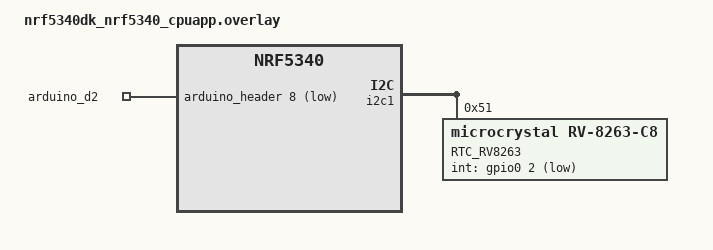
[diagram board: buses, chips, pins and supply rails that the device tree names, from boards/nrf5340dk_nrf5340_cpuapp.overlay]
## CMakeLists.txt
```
# Copyright (c)  2024 LVGL <felipe@lvgl.io>
# SPDX-License-Identifier: Apache-2.0

cmake_minimum_required(VERSION 3.20.0)

set(SHIELD x_nucleo_iks01a3 adafruit_2_8_tft_touch_v2)

find_package(Zephyr REQUIRED HINTS $ENV{ZEPHYR_BASE})
project(SquareLine_Project)

set(LVGL_DIR ${ZEPHYR_LVGL_MODULE_DIR})

# Ajout des dossiers d'include
target_include_directories(app PRIVATE src/rtc src/ui src/chrono src/BLE)

# Ajout des fichiers sources
FILE(GLOB app_sources 
    src/*.c 
    src/ui/*.c 
    src/ui/images/*.c 
    src/ui/fonts/*.c 
    src/ui/screens/*.c 
    src/ui/components/*.c 
    src/sensor/*.c 
    src/rtc/*.c
    src/chrono/*.c
    src/BLE/*.c

)
target_sources(app PRIVATE ${app_sources})
```

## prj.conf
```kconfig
CONFIG_MAIN_STACK_SIZE=8192
CONFIG_LOG=y
CONFIG_SHELL=y

CONFIG_LVGL=y
CONFIG_LV_Z_MEM_POOL_SIZE=32768
CONFIG_LV_Z_SHELL=y
CONFIG_LV_USE_MONKEY=y
CONFIG_LV_COLOR_DEPTH_32=y

CONFIG_DISPLAY=y
CONFIG_INPUT=y

CONFIG_LV_USE_PERF_MONITOR=y

CONFIG_LV_FONT_MONTSERRAT_16=y
CONFIG_LV_FONT_MONTSERRAT_18=y
CONFIG_LV_FONT_MONTSERRAT_20=y
CONFIG_LV_FONT_MONTSERRAT_24=y

# Benchmark Demo
CONFIG_LV_USE_FONT_COMPRESSED=y


#sensor
CONFIG_STDOUT_CONSOLE=y
CONFIG_I2C=y
CONFIG_SENSOR=y
CONFIG_SENSOR_LOG_LEVEL_DBG=y
CONFIG_HTS221_TRIGGER_NONE=y
CONFIG_LPS22HH_TRIGGER_OWN_THREAD=y
CONFIG_STTS751_TRIGGER_NONE=y
CONFIG_LIS2MDL_TRIGGER_NONE=y
CONFIG_LIS2DW12_TRIGGER_OWN_THREAD=y
CONFIG_LSM6DSO_ENABLE_TEMP=n
CONFIG_LSM6DSO_TRIGGER_OWN_THREAD=y
CONFIG_LSM6DSO_TRIGGER_GLOBAL_THREAD=y

CONFIG_CBPRINTF_FP_SUPPORT=y

# DIL24 section
CONFIG_LIS2DE12_ENABLE_TEMP=y
CONFIG_LIS2DE12_TRIGGER_NONE=y

# RTC
CONFIG_RTC=y
CONFIG_RTC_RV8263=y
#CONFIG_RTC_INIT_PRIORITY=90

# touchscreen
CONFIG_INPUT_GPIO_KEYS=n

# BLE
CONFIG_NCS_SAMPLES_DEFAULTS=y

CONFIG_BT=y
CONFIG_BT_PERIPHERAL=y
CONFIG_BT_DEVICE_NAME="MWAMontre"

# Enable the LBS service
CONFIG_BT_LBS=y
CONFIG_BT_LBS_POLL_BUTTON=y
CONFIG_DK_LIBRARY=y

CONFIG_SETTINGS=y

#timer2
CONFIG_NRFX_TIMER2=y
```

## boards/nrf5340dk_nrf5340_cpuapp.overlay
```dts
/*
 * Copyright (c) 2024 STMicroelectronics
 *
 * SPDX-License-Identifier: Apache-2.0
 */

/*
 * Sensors declared here are possibly present on DIL24
 */
/* 
 &arduino_i2c {
	status = "okay";

	lis2de18_18_x_nucleo_iks01a3: lis2de12@18 {
		compatible = "st,lis2de12";
		reg = <0x18>;
		int1-gpios =  <&arduino_header 5 GPIO_ACTIVE_HIGH>;
	};
};*/


&i2c1 {
    status = "okay";

    rv8263: rtc@51 {
        compatible = "microcrystal,rv-8263-c8";
        reg = <0x51>;
        label = "RTC_RV8263";
        clkout = <0>;  // ou <32768> si tu veux l'utiliser
        int-gpios = <&gpio0 2 GPIO_ACTIVE_LOW>; // << ajouté pour éviter les erreurs
    };
};

/ {
    int_gpio {
        compatible = "gpio-keys";
        arduino_d2: arduinod2 {
        gpios = <&arduino_header 8 GPIO_ACTIVE_LOW>;
            };
        };
    };    
```

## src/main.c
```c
/*
 * Copyright (c) 2024 LVGL <felipe@lvgl.io>
 *
 * SPDX-License-Identifier: Apache-2.0
 */

 #include <zephyr/kernel.h>
 #include <zephyr/drivers/display.h>
 #include <lvgl.h>
 #include <lvgl_mem.h>
 //#include <lv_demos.h>
 #include "ui/ui.h"
 #include <stdio.h>
 #include <math.h>
 
 #include <zephyr/device.h>
 #include <zephyr/drivers/sensor.h>
 #include <zephyr/sys/util.h>
 
 #include "sensor/I2C_Sensor_Config.h"
 
 #include <zephyr/drivers/rtc.h>
 #include <zephyr/input/input.h>

 #include <zephyr/logging/log.h>

// RTC CALLBACK INCLUDE
 #include "rtc_callbacks.h"

 //ble include
 #include "BLE/ble_config.h"

 #include <nrfx_timer.h>


LOG_MODULE_REGISTER(sample, LOG_LEVEL_INF);
 #define REFRESH_RATE 100

//dimension ecran
#define SCREEN_WIDTH 240 
#define SCREEN_HEIGHT 320

#define refresh_rate 100

#define LVGL_STACK_SIZE 2048
K_THREAD_STACK_DEFINE(lvgl_stack_area, LVGL_STACK_SIZE);
struct k_thread lvgl_thread;
void lvgl_loop(void *p1, void *p2, void *p3)
{
    while (1) {
        lv_timer_handler();
        k_msleep(10); // Appelle LVGL toutes les 10 ms (~100 FPS)
	}
}


static const struct device *const touch_dev = DEVICE_DT_GET(DT_NODELABEL(tsc2007_adafruit_2_8_tft_touch_v2));

//structure pour le point de contact du tactile
static struct {
    size_t x;
    size_t y;
    bool pressed;
} touch_point;

static struct k_sem sync;

static const struct device *display_dev;

/*-----------------------------------------------------------
  * Input/Output et Timer
  *-----------------------------------------------------------*/
 #define INACTIVITY_TIMEOUT_MS 20000  // 20 secondes
 #define LED_BLINK_MS         500     // Clignotement LED, si utilisé
// volatile bool touch_wake_event_pending = false;



//Timer2
//static const nrfx_timer_t timer2 = NRFX_TIMER_INSTANCE(2);


 /*
 //led 0
 #define LED0_NODE DT_ALIAS(led0)
 static const struct gpio_dt_spec led_0 = GPIO_DT_SPEC_GET(LED0_NODE, gpios);

 //bouton 0
 #define BUTTON0_NODE DT_ALIAS(sw0)
 static const struct gpio_dt_spec button_0 = GPIO_DT_SPEC_GET(BUTTON0_NODE, gpios);


*/

/*-----------------------------------------------------------
* Fonctions de gestion du timer et de la mise en veille
*-----------------------------------------------------------*/

/*

volatile bool system_awake = true;
volatile bool is_sleeping = false;

struct k_timer inactivity_timer;  // déclare l'instance ici

static int64_t last_sleep_time = 0;
#define SLEEP_COOLDOWN_MS 500  // temps minimum pour éviter réveil accidentel
static bool timer2_initialized = false;

static bool timer2_running = false;

volatile bool system_awake = true;
volatile bool is_sleeping = false;
static bool timer2_started = false;

void timer2_handler(nrf_timer_event_t event_type, void *p_context)
{
    if (event_type == NRF_TIMER_EVENT_COMPARE0) {
        if (system_awake && !is_sleeping) {
            LOG_INF("⏲️ Inactivité détectée — mise en veille");

            nrfx_timer_disable(&timer2);
            is_sleeping = true;
            system_awake = false;

            if (device_is_ready(display_dev)) {
                display_blanking_on(display_dev);
                LOG_INF("🖥️ Écran éteint");
            }
        }
    }
}

void start_timer2(void)
{
    static bool already_initialized = false;

    if (already_initialized) {
        LOG_INF("✅ Timer2 déjà initialisé, on saute.");
        return;
    }

    nrfx_timer_config_t config = {
        .frequency          = NRF_TIMER_FREQ_1MHz,
        .mode               = NRF_TIMER_MODE_TIMER,
        .bit_width          = NRF_TIMER_BIT_WIDTH_32,
        .interrupt_priority = 6,
        .p_context          = NULL
    };

    nrfx_err_t err = nrfx_timer_init(&timer2, &config, timer2_handler);
    if (err == NRFX_ERROR_INVALID_STATE) {
        LOG_WRN("⚠️ NRFX_TIMER2 déjà utilisé par un autre module");
        already_initialized = true;  // pour éviter de réessayer
        return;
    } else if (err != NRFX_SUCCESS) {
        LOG_ERR("❌ nrfx_timer_init(TIMER2) a échoué: %lu", (unsigned long)err);
        return;
    }

    already_initialized = true;

    uint32_t ticks = nrfx_timer_ms_to_ticks(&timer2, INACTIVITY_TIMEOUT_MS);
    nrfx_timer_extended_compare(&timer2,
        NRF_TIMER_CC_CHANNEL0,
        ticks,
        NRF_TIMER_SHORT_COMPARE0_CLEAR_MASK,
        true);

    nrfx_timer_enable(&timer2);
    LOG_INF("✅ Timer2 initialisé et lancé");
}

void reset_inactivity_timer2(void)
{
    if (!system_awake || is_sleeping) return;

    nrfx_timer_clear(&timer2);
    nrfx_timer_enable(&timer2);
    LOG_INF("🔁 Timer2 réinitialisé");
}

*/



/*
void button_pressed_isr(const struct device *dev, struct gpio_callback *cb, uint32_t pins)
{
    wake_up_system();  // <---
}
*/



int flagView = 1;
static int64_t last_touch_time = 0;
#define TOUCH_DEBOUNCE_MS 500  // délai de rebond

static void touch_event_callback(struct input_event *evt, void *user_data)
{
    static int current_x = -1;
    static int current_y = -1;
    static int current_pressed = -1;

    if (evt->code == INPUT_ABS_X) {
        current_x = evt->value;
    }

    if (evt->code == INPUT_ABS_Y) {
        current_y = evt->value;
    }

    if (evt->code == INPUT_BTN_TOUCH) {
        current_pressed = evt->value;
    }

    if (evt->sync) {
        // On met à jour touch_point seulement ici
        touch_point.x = current_x;
        touch_point.y = current_y;
        touch_point.pressed = current_pressed;

        // On log les coordonnées pour debug
		LOG_INF("TOUCH %s X, Y: (%d, %d)", touch_point.pressed ? "PRESS" : "RELEASE", touch_point.x, touch_point.y);

        // Gestion des écrans uniquement à l'appui (pressed == 1)
        if (touch_point.pressed == 1) {

            int64_t now = k_uptime_get();
            if ((now - last_touch_time) >= TOUCH_DEBOUNCE_MS) {
                last_touch_time = now;

                if (flagView == 1 && touch_point.y < (SCREEN_WIDTH / 2)) {
                    //LOG_INF("Screen1 → Screen2");
                    lv_scr_load(ui_Screen2);
                    flagView = 2;
                } else if (flagView == 1 && touch_point.y > (SCREEN_WIDTH / 2)) {
                    lv_scr_load(ui_Screen5);
                    flagView = 5;
                } else if (flagView == 2 && touch_point.y < (SCREEN_WIDTH / 2)) {
                    //LOG_INF("Screen2 → Screen3");
                    lv_scr_load(ui_Screen3);
                    flagView = 3;
                } else if (flagView == 2 && touch_point.y > (SCREEN_WIDTH / 2)) {
                    //LOG_INF("Screen2 → Screen1");
                    lv_scr_load(ui_Screen1);
                    flagView = 1;
                } else if (flagView == 3 && touch_point.y < (SCREEN_WIDTH / 2)) {
                    //LOG_INF("Screen3 → Screen4");
                    lv_scr_load(ui_Screen4);
                    flagView = 4;
                } else if (flagView == 3 && touch_point.y > (SCREEN_WIDTH / 2)) {
                    //LOG_INF("Screen3 → Screen2");
                    lv_scr_load(ui_Screen2);
                    flagView = 2;
                } else if (flagView == 4 && touch_point.y > (SCREEN_WIDTH / 2) && touch_point.x < (SCREEN_HEIGHT / 2)) {
                    //LOG_INF("Screen4 → Screen3");
                    lv_scr_load(ui_Screen3);
                    flagView = 3;
                }
            }
        }

        // C’est uniquement ici que LVGL est notifié → séquence complète
        k_sem_give(&sync);
	}
}

 /*-----------------------------------------------------------
  * Définition threads, mutex et sémaphore
  *-----------------------------------------------------------*/
 
 // Augmentation de la taille de la pile pour éviter les débordements (passage de 512 à 1024)
 #define STACK_SIZE 1024
 
 K_THREAD_STACK_DEFINE(thread_stack_area_0, STACK_SIZE);
 K_THREAD_STACK_DEFINE(thread_stack_area_1, STACK_SIZE);
 K_THREAD_STACK_DEFINE(rtc_stack, STACK_SIZE);
 
 // Déclaration des threads
 struct k_thread thread_Sensor;
 struct k_thread thread_Sensor_processing;
 struct k_thread thread_rtc;
 
//init BLE
#define BLE_STACK_SIZE 1024
#define BLE_PRIORITY   4

K_THREAD_STACK_DEFINE(ble_stack, BLE_STACK_SIZE);
struct k_thread ble_thread;

 /*-----------------------------------------------------------
 * Définition des files de messages et sémaphores
 *-----------------------------------------------------------*/
 #define QUEUE_SIZE 5

 

 
 /*-----------------------------------------------------------
  * Structure de données capteurs et Message Queue
  *-----------------------------------------------------------*/
 //Structure des données capteurs (HTS221, LSM6DSL...)
 typedef struct{
	 double temperature;
	 double humidity;
	 double Mx,My,Mz;
	 double ax,ay,az, gx,gy,gz;
 } Sensor_Data;
 
 /// Init fonction message queue
 struct k_msgq sensor_msgq;
 struct k_msgq sensor_msgq_ble;

 // initialisation de la file de messages
 // struct k_msgq sensor_msgq_high;
 
 typedef struct {
	 float value;
	 Sensor_Data DataSensor;
	 uint8_t sensor_id;
 } sensor_msg_data;
 char Msg_queue_buffer[10 * sizeof(sensor_msg_data)];
 char Msg_queue_buffer_ble[10 * sizeof(sensor_msg_data)];

 
 /*-----------------------------------------------------------
  * init RTC
  *-----------------------------------------------------------*/
 void RTC_Init(void)
 {
	const struct device *rtc_dev = DEVICE_DT_GET(DT_NODELABEL(rv8263));
 
	 if (rtc_dev == NULL) {
		 printk("rtc_dev = NULL !\n");
		 return;
	 }
 
	 if (!device_is_ready(rtc_dev)) {
		 printk("RTC non prête\n");
		 return;
	 }
 
	 struct rtc_time nouvelle_date = {
		 .tm_year = 2025 - 1900,
		 .tm_mon  = 3,
		 .tm_mday = 3,
		 .tm_hour = 12,
		 .tm_min  = 30,
		 .tm_sec  = 0,
	 };
 
	 if (rtc_set_time(rtc_dev, &nouvelle_date) == 0) {
		 printk("RTC réglée à la nouvelle date/heure.\n");
	 }
 }
 
 /*-----------------------------------------------------------
  * Fonction pour RTC
  *-----------------------------------------------------------*/
 void Clock_Print_Thread(void *p1, void *p2, void *p3)
  {
    k_sleep(K_MSEC(200)); // Laisse le temps aux périphériques I2C de s'activer

    RTC_Init();
	init_edit_time_from_rtc();  // Pour charger l’heure/date de la RTC dans les variables globales

    const struct device *rtc_dev = DEVICE_DT_GET_ANY(microcrystal_rv_8263_c8);

    if (rtc_dev == NULL) {
        printk("rtc_dev = NULL dans Clock_Print_Thread !\n");
        return;
    }

    if (!device_is_ready(rtc_dev)) {
        printk("RTC toujours pas prête dans Clock_Print_Thread\n");
        return;
    }

    struct rtc_time now;
    char time_buf[16];
    char date_buf[16];

	while (1) {
        if (rtc_get_time(rtc_dev, &now) == 0) {
            //snprintf(time_buf, sizeof(time_buf), "%02d:%02d:%02d", now.tm_hour, now.tm_min, now.tm_sec);
			snprintf(time_buf, sizeof(time_buf), "%02d:%02d", now.tm_hour, now.tm_min);
            snprintf(date_buf, sizeof(date_buf), "%02d/%02d/%02d", now.tm_mday, now.tm_mon + 1, (now.tm_year + 1900) % 100);
            if(flagView == 1) {
                lv_label_set_text(ui_LabelTimeScreen1, time_buf);
                lv_label_set_text(ui_LabelDateScreen1, date_buf);
            }
            else if (flagView == 2) {
                lv_label_set_text(ui_LabelTimeScreen3, time_buf);
            }
            else if (flagView == 3) {
                lv_label_set_text(ui_LabelTimeScreen4, time_buf);
            }

            lv_label_set_text(ui_LabelTimeScreen1, time_buf);
            lv_label_set_text(ui_LabelDateScreen1, date_buf);

            printk("Heure affichée: %s | Date affichée: %s\n", time_buf, date_buf);
        } else {
            printk("Erreur de lecture RTC\n");
        }

        k_sleep(K_SECONDS(1));
    }
 }
 
 /*-----------------------------------------------------------
  * Affichage des données capteurs dans l'inteface LVGL
  *-----------------------------------------------------------*/
 char temp_buf[20];
 char hum_buf[20];
 char angle_buf[20];
 char direction_buf[20];
 char NbPas_buf[20];
 char distance_buf[20];

 void Sensor_Interface_Update(sensor_msg_data data)
 {
	static int64_t last_temp_hum_update = 0;
    static int64_t last_accel_update = 0;
    static int64_t last_mag_update = 0;

	int64_t now = k_uptime_get();


    // Capteur ID 1 = HTS221 (Temp & Hum)
    if (data.sensor_id == 1) {
        int64_t now = k_uptime_get();
        if ((now - last_temp_hum_update) >= 5000) {  // toutes les 5 secondes
            last_temp_hum_update = now;

            snprintf(temp_buf, sizeof(temp_buf), "%.1f", data.DataSensor.temperature-7.2); //avec offset
            snprintf(hum_buf, sizeof(hum_buf), "%.2f%%", data.DataSensor.humidity+10); //avec offset

            if (flagView == 1) {
                lv_label_set_text(ui_LabelTempScreen1, temp_buf);
                lv_label_set_text(ui_LabelHumScreen1, hum_buf);
            }

            printk("UI Screen1: Temp = %s, Hum = %s\n", temp_buf, hum_buf);
        }
    }

    // Capteur ID 2 = LSM6DSO (Accel & Gyro) → Distance & pas
    else if (data.sensor_id == 2) {
        StepResult step_data = detect_step_from_data(
            data.DataSensor.ax,
            data.DataSensor.ay,
            data.DataSensor.az
        );

        snprintf(NbPas_buf, sizeof(NbPas_buf), "%d", step_data.steps);
        snprintf(distance_buf, sizeof(distance_buf), "%.2f", step_data.distance_m);

        if ((now - last_accel_update) >= 1000) {  // toutes les 1s
            last_accel_update = now;

            if (flagView == 2) {
                lv_label_set_text(ui_LabelPasScreen2, NbPas_buf);
                lv_label_set_text(ui_LabelKmHScreen2, distance_buf);
            }

            printk("UI Screen2: Pas = %s, Distance = %s\n", NbPas_buf, distance_buf);
        }
    }

    // Capteur ID 3 = LIS2MDL (Magnétomètre) → Angle & direction
    else if (data.sensor_id == 3) {
        double heading = calculate_compass_heading(data.DataSensor.Mx, data.DataSensor.My);
        const char *direction = get_direction(heading);

        snprintf(angle_buf, sizeof(angle_buf), "%d", (int)heading);
        snprintf(direction_buf, sizeof(direction_buf), "%s", direction);

        if ((now - last_mag_update) >= 1000) {  // toutes les 1s
            last_mag_update = now;

            if (flagView == 3) {
                lv_label_set_text(ui_LabelGyroScreen3, angle_buf);
                lv_label_set_text(ui_LabelSudScreen3, direction_buf);
            }

            printk("UI Screen3: Angle = %s, Direction = %s\n", angle_buf, direction_buf);
        }
    }
}

/*-----------------------------------------------------------
  * Thread d'acquisition HTS221 / LSM6DSO / LIS2MDL
  *-----------------------------------------------------------*/
 void Sensor_task(void *p1, void *p2, void *p3)
 {
	 sensor_msg_data data = {0};
	 struct sensor_value temp1, hum;
	 struct sensor_value accel[3], gyro[3], mag[3];
 
	 while (1) {
		 if (sensor_sample_fetch(hts221) >= 0) {
			 sensor_channel_get(hts221, SENSOR_CHAN_AMBIENT_TEMP, &temp1);
			 sensor_channel_get(hts221, SENSOR_CHAN_HUMIDITY, &hum);
			 data.DataSensor.temperature = sensor_value_to_double(&temp1);
			 data.DataSensor.humidity = sensor_value_to_double(&hum);
			 data.sensor_id = 1;
			 k_msgq_put(&sensor_msgq, &data, K_NO_WAIT);
			 k_msgq_put(&sensor_msgq_ble, &data, K_NO_WAIT);
		 }
		 if (sensor_sample_fetch(lsm6dso) == 0) {
			 sensor_channel_get(lsm6dso, SENSOR_CHAN_ACCEL_XYZ, accel);
			 sensor_channel_get(lsm6dso, SENSOR_CHAN_GYRO_XYZ, gyro);
			 data.DataSensor.ax = sensor_value_to_double(&accel[0]);
			 data.DataSensor.ay = sensor_value_to_double(&accel[1]);
			 data.DataSensor.az = sensor_value_to_double(&accel[2]);
			 data.DataSensor.gx = sensor_value_to_double(&gyro[0]);
			 data.DataSensor.gy = sensor_value_to_double(&gyro[1]);
			 data.DataSensor.gz = sensor_value_to_double(&gyro[2]);
			 data.sensor_id = 2;
			 k_msgq_put(&sensor_msgq, &data, K_NO_WAIT);
		 }
		 if (sensor_sample_fetch(lis2mdl) == 0) {
			 sensor_channel_get(lis2mdl, SENSOR_CHAN_MAGN_XYZ, mag);
			 data.DataSensor.Mx = sensor_value_to_double(&mag[0]);
			 data.DataSensor.My = sensor_value_to_double(&mag[1]);
			 data.DataSensor.Mz = sensor_value_to_double(&mag[2]);
			 data.sensor_id = 3;
			 k_msgq_put(&sensor_msgq, &data, K_NO_WAIT);
			 k_msgq_put(&sensor_msgq_ble, &data, K_NO_WAIT);
		 }
		 k_sleep(K_MSEC(200));
	 }
 }

 /*-----------------------------------------------------------
  * Thread de traitement : récupère les données de la file et les traite et affiches
  *-----------------------------------------------------------*/
 void Sensor_processing(void *p1, void *p2, void *p3)
 {
	 sensor_msg_data data;
 
	 while (1) {
		 if (k_msgq_get(&sensor_msgq, &data, K_FOREVER) == 0) {
			 printk("Message récupéré dans la file\n");
			 Sensor_Interface_Update(data);
		 } else {
			 printk("Erreur lors de la récupération de la file de messages\n");
		 }
	 }
 }

  /*-----------------------------------------------------------
 * Bluetooth low energy
 *-----------------------------------------------------------*/
void ble_thread_fn(void *p1, void *p2, void *p3)
{
    ble_config_init();
    sensor_msg_data data;
    while (1) {
        if (k_msgq_get(&sensor_msgq_ble, &data, K_FOREVER) == 0) {
            if (data.sensor_id == 1) {
                int16_t temp_ble = (int16_t)(data.DataSensor.temperature * 100.0f);
                uint16_t humi_ble = (uint16_t)(data.DataSensor.humidity * 100.0f);
                ble_update_temperature(temp_ble);
                ble_update_humidity(humi_ble);
            } else if (data.sensor_id == 3) {
                int16_t mx = (int16_t)(data.DataSensor.Mx * 100.0f);
                int16_t my = (int16_t)(data.DataSensor.My * 100.0f);
                int16_t mz = (int16_t)(data.DataSensor.Mz * 100.0f);
                ble_update_magnetometer(mx, my, mz);
            }
        }
		k_sleep(K_MSEC(2000));

    }
}

 //definition du callback pour le tactile
 INPUT_CALLBACK_DEFINE(touch_dev, touch_event_callback, NULL);

 int main(void)
 {
	 /*-----------------------------------------------------------
	  * Initialisation globale
	 *-----------------------------------------------------------*/
	 k_sem_init(&sync, 0, 1);
	 Sensor_Init();
	 if (!hts221) {
		 printk("Capteur HTS221 non trouvé !\n");
	 } else {
		 printk("Capteur HTS221 initialisé avec succès\n");
	 }
     /*
     gpio_pin_configure_dt(&led_0, GPIO_OUTPUT_ACTIVE);
     gpio_pin_configure_dt(&button_0, GPIO_INPUT);
     gpio_pin_interrupt_configure_dt(&button_0, GPIO_INT_EDGE_TO_ACTIVE);
     gpio_init_callback(&button_cb_data, button_pressed_isr, BIT(button_0.pin));
     gpio_add_callback(button_0.port, &button_cb_data);
 
     */
 
	 /*-----------------------------------------------------------
	  * Initialisation de l'interface LVGL
	  *-----------------------------------------------------------*/
	 //const struct device *display_dev;
 
	 display_dev = DEVICE_DT_GET(DT_CHOSEN(zephyr_display));
	 if (!device_is_ready(display_dev)) {
		 printk("Device not ready, aborting test\n");
		 return 0;
	 }
 
	 /* Place your UI init function here */
	 ui_init();


 
	 display_blanking_off(display_dev);
 #ifdef CONFIG_LV_Z_MEM_POOL_SYS_HEAP
	 lvgl_print_heap_info(false);
 #else
	 printf("lvgl in malloc mode\n");
 #endif
    


	 /*-----------------------------------------------------------
	 * Initialisation des threads et message queue
	 *-----------------------------------------------------------*/

	 k_thread_create(&lvgl_thread, lvgl_stack_area, LVGL_STACK_SIZE,lvgl_loop, NULL, NULL, NULL,0, 0, K_NO_WAIT);
	 printk("Thread LVGL lancé\n");
	 
	 k_sem_give(&sync);
	 k_msgq_init(&sensor_msgq, Msg_queue_buffer, sizeof(sensor_msg_data), 10);
	 k_msgq_init(&sensor_msgq_ble, Msg_queue_buffer_ble, sizeof(sensor_msg_data), 10);
	 printk("File de messages initialisée\n");
 
	 //k_msgq_init(&sensor_msgq_high, msg_queue_buffer_critical, sizeof(sensor_msg_data), QUEUE_SIZE);
	 //k_sem_init(&sem_high, 0, QUEUE_SIZE);
	 //k_sem_init(&sem_normal, 0, QUEUE_SIZE);
 
	 // Création de la tâche d'acquisition
	 k_thread_create(&thread_Sensor, thread_stack_area_0, STACK_SIZE, Sensor_task, (void *)1, NULL, NULL, 5, 0, K_NO_WAIT);
	 printk("Thread Sensor lancé\n");
 
	 // Création de la tâche de traitement et d'affichage
	 k_thread_create(&thread_Sensor_processing, thread_stack_area_1, STACK_SIZE, Sensor_processing, NULL, NULL, NULL, 5, 0, K_NO_WAIT);
	 printk("Thread Sensor_processing lancé\n");
 
	 // RTC thread
	 k_thread_create(&thread_rtc, rtc_stack, STACK_SIZE, Clock_Print_Thread, NULL, NULL, NULL, 3, 0, K_NO_WAIT);

	  
     //BLE thread
     k_thread_create(&ble_thread, ble_stack, BLE_STACK_SIZE, ble_thread_fn, NULL, NULL, NULL, BLE_PRIORITY, 0, K_NO_WAIT);
     	 
 
	 while (1) {
		 //This function has to be called periodically to update the UI
		 //Can be placed in a dedicated thread
 
		 /*-----------------------------------------------------------
		 * Rafraichissement de l'interface LVGL
		 *-----------------------------------------------------------*/
		 //k_msleep(refresh_rate);
            k_sem_take(&sync, K_FOREVER);
		 //uint32_t sleep_ms = lv_timer_handler();
		 //k_msleep(MIN(sleep_ms, 20));
	 }
	 return 0;
 }

 
```
